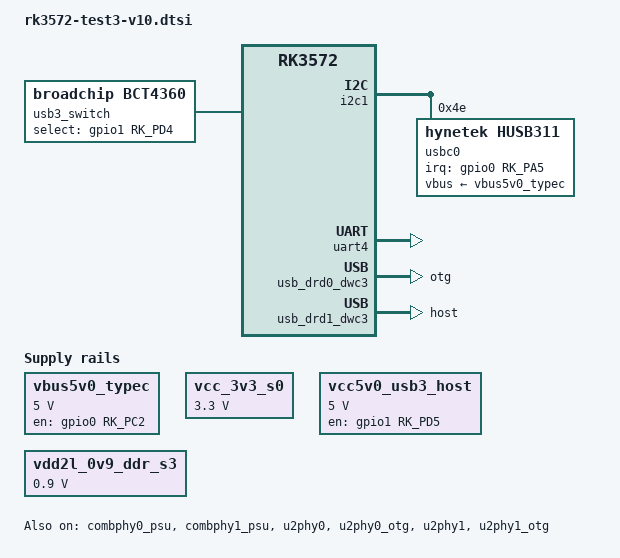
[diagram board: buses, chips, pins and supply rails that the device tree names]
// SPDX-License-Identifier: (GPL-2.0+ OR MIT)
/*
 * Copyright (c) 2025 Rockchip Electronics Co., Ltd.
 */

#include <dt-bindings/usb/pd.h>
#include "rk3572.dtsi"
#include "rk3572-evb.dtsi"
#include "rk3572-rk806.dtsi"

/ {
	usb3_switch: usb3-switch {
		compatible = "broadchip,bct4360", "gpio-sbu-mux";
		select-gpios = <&gpio1 RK_PD4 GPIO_ACTIVE_HIGH>;
		pinctrl-names = "default";
		pinctrl-0 = <&usb3_switch_default>;
		orientation-switch;
	};

	vbus5v0_typec: vbus5v0-typec {
		compatible = "regulator-fixed";
		regulator-name = "vbus5v0_typec";
		regulator-min-microvolt = <5000000>;
		regulator-max-microvolt = <5000000>;
		enable-active-high;
		gpio = <&gpio0 RK_PC2 GPIO_ACTIVE_HIGH>;
		pinctrl-names = "default";
		pinctrl-0 = <&usb_drd0_pwren>;
	};

	vcc_3v3_s0: vcc-3v3-s0 {
		compatible = "regulator-fixed";
		regulator-name = "vcc_3v3_s0";
		regulator-boot-on;
		regulator-always-on;
		regulator-min-microvolt = <3300000>;
		regulator-max-microvolt = <3300000>;
	};

	vcc5v0_usb3_host: vcc5v0-usb3-host {
		compatible = "regulator-fixed";
		regulator-name = "vcc5v0_usb3_host";
		regulator-boot-on;
		regulator-always-on;
		regulator-min-microvolt = <5000000>;
		regulator-max-microvolt = <5000000>;
		enable-active-high;
		gpio = <&gpio1 RK_PD5 GPIO_ACTIVE_HIGH>;
		pinctrl-names = "default";
		pinctrl-0 = <&usb_drd1_pwren>;
	};

	vdd2l_0v9_ddr_s3: vdd2l-0v9-ddr-s3 {
		compatible = "regulator-fixed";
		regulator-name = "vdd2l_0v9_ddr_s3";
		regulator-boot-on;
		regulator-always-on;
		regulator-min-microvolt = <900000>;
		regulator-max-microvolt = <900000>;
	};
};

&combphy0_psu {
	status = "okay";
};

&combphy1_psu {
	status = "okay";
};

&i2c1 {
	status = "okay";

	usbc0: husb311@4e {
		compatible = "hynetek,husb311";
		reg = <0x4e>;
		interrupt-parent = <&gpio0>;
		interrupts = <RK_PA5 IRQ_TYPE_LEVEL_LOW>;
		pinctrl-names = "default";
		pinctrl-0 = <&usbc0_int>;
		vbus-supply = <&vbus5v0_typec>;
		status = "okay";

		usb_con0: connector {
			compatible = "usb-c-connector";
			label = "USB-C";
			data-role = "dual";
			power-role = "dual";
			try-power-role = "sink";
			op-sink-microwatt = <1000000>;
			orientation-switch = <&usb3_switch &u2phy0>;
			usb-role-switch = <&usb_drd0_dwc3>;

			sink-pdos = <PDO_FIXED(5000, 1000, PDO_FIXED_DATA_SWAP | PDO_FIXED_USB_COMM | PDO_FIXED_EXTPOWER | PDO_FIXED_DUAL_ROLE)>;
			source-pdos = <PDO_FIXED(5000, 3000, PDO_FIXED_DATA_SWAP | PDO_FIXED_USB_COMM | PDO_FIXED_EXTPOWER | PDO_FIXED_DUAL_ROLE)>;
		};
	};
};

&pinctrl {
	usb {
		usb3_switch_default: usb3-switch-default {
			rockchip,pins = <1 RK_PD4 RK_FUNC_GPIO &pcfg_pull_none>;
		};

		usb_drd0_pwren: usb-drd0-pwren {
			rockchip,pins = <0 RK_PC2 RK_FUNC_GPIO &pcfg_pull_none>;
		};

		usb_drd1_pwren: usb-drd1-pwren {
			rockchip,pins = <1 RK_PD5 RK_FUNC_GPIO &pcfg_pull_none>;
		};

		usbc0_int: usbc0-int {
			rockchip,pins = <0 RK_PA5 RK_FUNC_GPIO &pcfg_pull_up>;
		};
	};
};

&uart4 {
	status = "okay";
};

&u2phy0 {
	orientation-switch;
	status = "okay";
};

&u2phy0_otg {
	rockchip,typec-vbus-det;
	status = "okay";
};

&u2phy1 {
	status = "okay";
};

&u2phy1_otg {
	phy-supply = <&vcc5v0_usb3_host>;
	status = "okay";
};

&usb_drd0_dwc3 {
	dr_mode = "otg";
	usb-role-switch;
	status = "okay";
};

&usb_drd1_dwc3 {
	dr_mode = "host";
	status = "okay";
};
